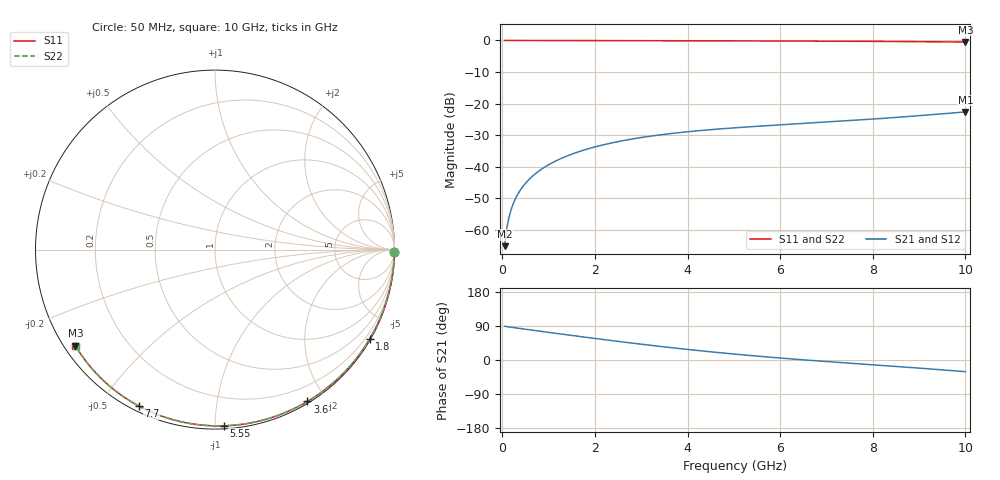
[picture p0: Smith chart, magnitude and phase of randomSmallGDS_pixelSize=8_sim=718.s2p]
! freq	dB(S11)	phase(S11)	dB(S12)	phase(S12)
!  dB(S21)	phase(S21)	dB(S22)	phase(S22)
!S-par simulation data
#  GHz  S  DB  R 50
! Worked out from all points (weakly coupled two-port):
!   200 points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, 50 MHz to 10 GHz, reference 50 ohm
!   highest |S21| = -22.64 dB at 10 GHz (marker M1); lowest = -65.2 dB at 50 MHz (marker M2)
!   lowest |S11| = -0.5 dB at 10 GHz (marker M3), VSWR 34.92, Z = 1.57 - j15.5 ohm
!   |S11| at or under -10 dB: nowhere
!   |S22| runs from -0.5 to 0.0 dB; largest |S21 - S12| = 0
!   S11 on the Smith chart (normalised r, x): 50 MHz: open; 1.8 GHz: 0.03, -3.71; 3.6 GHz: 0.02, -1.78; 5.55 GHz: 0.02, -1.05; 7.7 GHz: 0.02, -0.62; 10 GHz: 0.03, -0.31
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0.05  -0.00 -0.9  -65.16 89.1  -65.16 89.1  -0.00 -0.9
0.1  -0.00 -1.7  -59.15 88.1  -59.15 88.1  -0.00 -1.7
0.15  -0.00 -2.6  -55.64 87.2  -55.64 87.2  -0.00 -2.6
0.2  -0.00 -3.4  -53.15 86.3  -53.15 86.3  -0.00 -3.4
0.25  -0.00 -4.3  -51.22 85.4  -51.22 85.4  -0.00 -4.3
0.35  -0.00 -6.0  -48.33 83.7  -48.33 83.7  -0.00 -6.0
0.5  -0.01 -8.5  -45.27 81.2  -45.27 81.2  -0.01 -8.5
0.7  -0.01 -11.9  -42.40 77.8  -42.40 77.8  -0.01 -11.9
1  -0.02 -16.9  -39.37 72.9  -39.37 72.9  -0.02 -16.9
1.35  -0.03 -22.7  -36.88 67.2  -36.88 67.2  -0.03 -22.7
1.75  -0.04 -29.3  -34.77 60.8  -34.77 60.8  -0.04 -29.3
1.8  -0.04 -30.1  -34.55 60.0  -34.55 60.0  -0.04 -30.1
2.5  -0.06 -41.5  -32.04 49.1  -32.04 49.1  -0.06 -41.4
3.4  -0.08 -55.6  -29.92 36.0  -29.92 36.0  -0.08 -55.5
3.6  -0.08 -58.7  -29.56 33.2  -29.56 33.2  -0.08 -58.6
4.3  -0.10 -69.2  -28.51 24.1  -28.51 24.1  -0.10 -69.1
5.05  -0.13 -80.1  -27.64 15.2  -27.64 15.2  -0.13 -80.0
5.55  -0.15 -87.2  -27.15 9.7  -27.15 9.7  -0.15 -87.1
6.7  -0.20 -102.9  -26.13 -1.4  -26.13 -1.4  -0.20 -102.8
7.7  -0.27 -116.1  -25.21 -10.1  -25.21 -10.1  -0.27 -115.9
8.35  -0.32 -124.4  -24.54 -15.6  -24.54 -15.6  -0.32 -124.2
10  -0.50 -145.5  -22.64 -30.8  -22.64 -30.8  -0.50 -145.2
